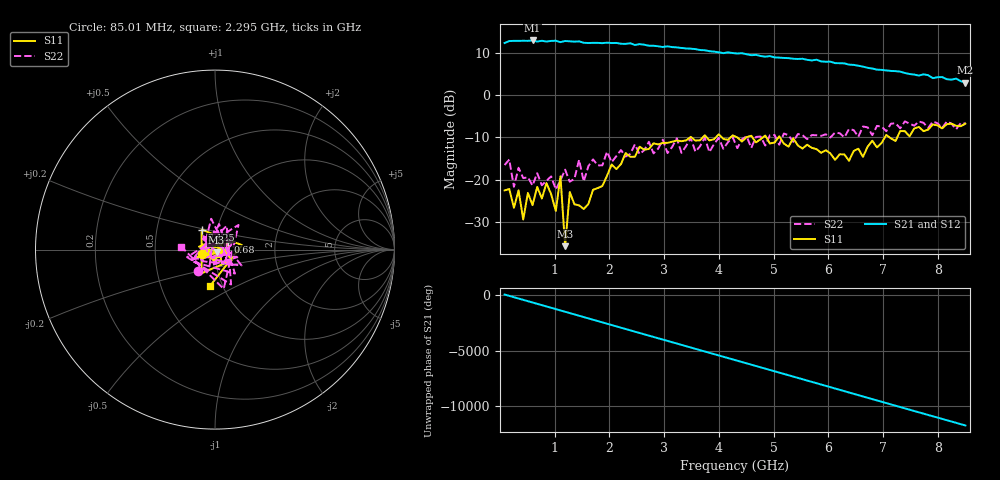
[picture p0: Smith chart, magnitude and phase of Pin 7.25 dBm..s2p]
! RsaToolbox (C) 2013 Rohde & Schwarz America
! Number of points: 101
! Number of ports: 2
! Balanced ports?: 0
# Hz S RI R 50
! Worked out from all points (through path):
!   100 points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, 85.01 MHz to 8.5 GHz, reference 50 ohm
!   highest |S21| = 12.94 dB at 595 MHz (marker M1); lowest = 2.9 dB at 8.5 GHz (marker M2)
!   lowest |S11| = -35.7 dB at 1.19 GHz (marker M3), VSWR 1.03, Z = 50.8 - j1.42 ohm
!   |S11| at or under -10 dB: start of sweep to 3.472 GHz; 3.498 GHz to 3.703 GHz (205.5 MHz wide, 5.71 % of centre); 5.112 GHz to 7.029 GHz (1.916 GHz wide, 31.6 % of centre) (the widest 3 of 9)
!   |S22| runs from -22.3 to -6.2 dB; largest |S21 - S12| = 0
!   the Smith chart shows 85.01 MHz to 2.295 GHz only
!   S11 on the Smith chart (normalised r, x): 85.01 MHz: 0.87, -0.05; 680 MHz: 1.15, +0.10; 2.125 GHz: 0.84, +0.19; 2.295 GHz: 0.87, -0.37
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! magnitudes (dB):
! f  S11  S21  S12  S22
! 85.01 MHz  -22.5  12.3  12.3  -16.5
! 170 MHz  -22.2  12.8  12.8  -15.2
! 255 MHz  -26.6  12.8  12.8  -21.7
! 340 MHz  -22.5  12.8  12.8  -17.2
! 425 MHz  -29.4  12.9  12.9  -19.6
! 510 MHz  -23.1  12.9  12.9  -19.4
! 595 MHz  -26.0  12.9  12.9  -21.4
! 680 MHz  -21.7  12.7  12.7  -18.5
! 1.02 GHz  -27.4  12.9  12.9  -22.3
! 1.105 GHz  -19.2  12.5  12.5  -20.1
! 1.19 GHz  -35.7  12.8  12.8  -17.6
! 1.275 GHz  -22.9  12.7  12.7  -20.5
! 1.445 GHz  -26.1  12.7  12.7  -15.3
! 1.53 GHz  -26.9  12.4  12.4  -20.4
! 2.125 GHz  -17.5  12.4  12.4  -14.4
! 2.295 GHz  -13.7  12.1  12.1  -14.5
! 2.89 GHz  -11.7  11.6  11.6  -12.6
! 4.335 GHz  -10.0  9.9  9.9  -12.5
! 5.695 GHz  -12.5  8.2  8.2  -9.4
! 6.375 GHz  -15.5  7.2  7.2  -8.0
! 7.14 GHz  -10.2  5.7  5.7  -6.7
! 8.5 GHz  -6.8  2.9  2.9  -6.7
